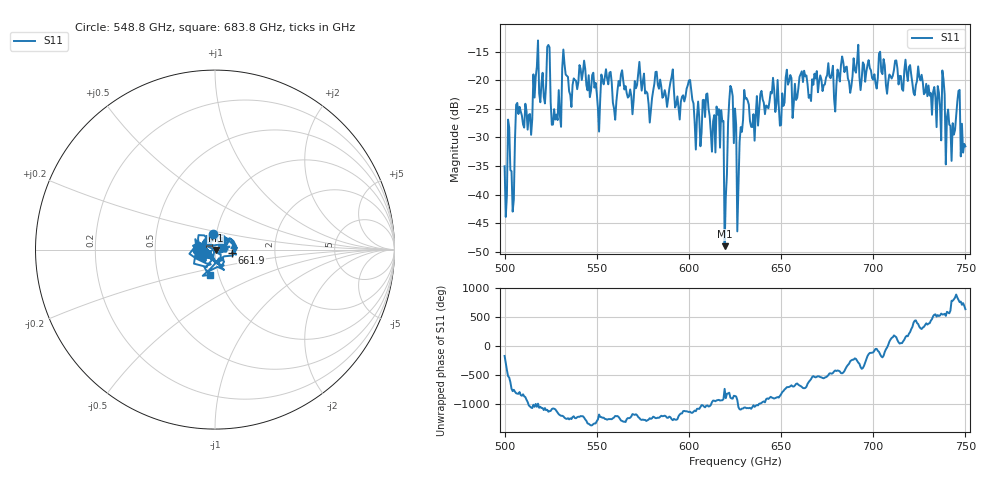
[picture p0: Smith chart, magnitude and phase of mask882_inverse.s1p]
!Created with skrf (http://scikit-rf.org).
# GHz S MA R 50.0
!freq magS11 angS11
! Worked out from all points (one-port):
!   401 points, 500 GHz to 750 GHz, reference 50 ohm
!   lowest |S11| = -49.0 dB at 619.4 GHz (marker M1), VSWR 1.01, Z = 50.3 - j0.15 ohm
!   |S11| at or under -10 dB: start of sweep to end of sweep
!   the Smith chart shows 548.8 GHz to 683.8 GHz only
!   S11 on the Smith chart (normalised r, x): 548.8 GHz: 0.97, +0.17; 661.9 GHz: 1.21, -0.04; 683.8 GHz: 0.91, -0.26
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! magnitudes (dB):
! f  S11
! 500 GHz  -35.0
! 504.4 GHz  -43.0
! 507.5 GHz  -25.9
! 513.8 GHz  -25.9
! 516.9 GHz  -19.5
! 523.8 GHz  -13.8
! 526.9 GHz  -25.1
! 531.2 GHz  -17.9
! 548.8 GHz  -21.3
! 562.5 GHz  -21.0
! 593.8 GHz  -22.8
! 600 GHz  -20.0
! 616.2 GHz  -25.1
! 619.4 GHz  -49.0
! 620.6 GHz  -36.4
! 622.5 GHz  -21.0
! 625 GHz  -25.0
! 627.5 GHz  -30.7
! 631.2 GHz  -23.1
! 634.4 GHz  -28.2
! 656.2 GHz  -26.6
! 661.9 GHz  -20.3
! 683.8 GHz  -16.9
! 687.5 GHz  -22.2
! 718.8 GHz  -20.1
! 743.1 GHz  -27.5
! 745.6 GHz  -23.7
! 750 GHz  -31.6
